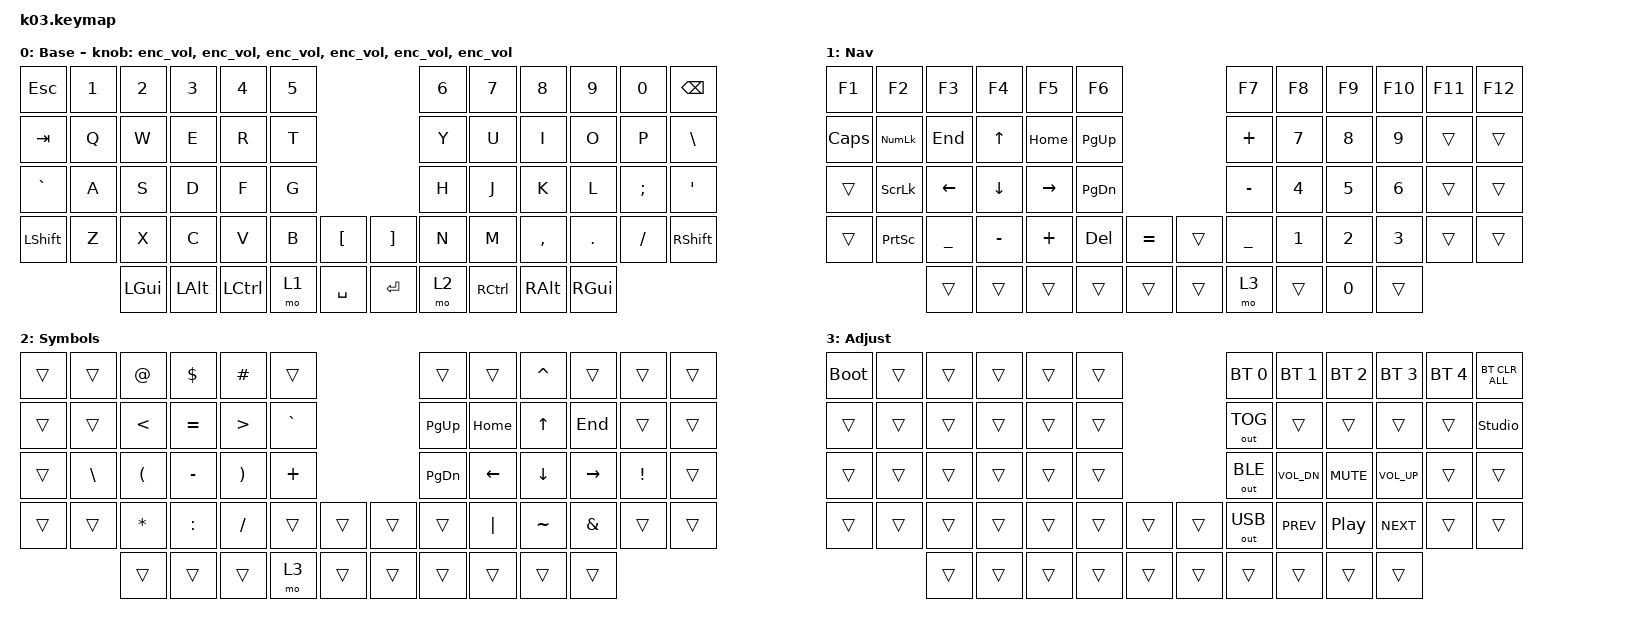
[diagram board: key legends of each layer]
#include "keys_ru.h"
#include <behaviors.dtsi>
#include <dt-bindings/zmk/bt.h>
#include <dt-bindings/zmk/keys.h>
#include <dt-bindings/zmk/outputs.h>

/ {
    behaviors {
        enc_vol: enc_vol {
            compatible = "zmk,behavior-sensor-rotate";
            label = "ENC_VOL";
            #sensor-binding-cells = <0>;
            bindings = <&kp C_VOL_UP>, <&kp C_VOL_DN>;
        };
    };

    keymap {
        compatible = "zmk,keymap";

        base {
            bindings = <
&kp ESC    &kp N1  &kp N2    &kp N3    &kp N4     &kp N5                          &kp N6  &kp N7     &kp N8     &kp N9    &kp N0    &kp BSPC
&kp TAB    &kp Q   &kp W     &kp E     &kp R      &kp T                           &kp Y   &kp U      &kp I      &kp O     &kp P     &kp BSLH
&kp GRAVE  &kp A   &kp S     &kp D     &kp F      &kp G                           &kp H   &kp J      &kp K      &kp L     &kp SEMI  &kp SQT
&kp LSHFT  &kp Z   &kp X     &kp C     &kp V      &kp B   &kp LBKT     &kp RBKT   &kp N   &kp M      &kp COMMA  &kp DOT   &kp FSLH  &kp RSHFT
                   &kp LGUI  &kp LALT  &kp LCTRL  &mo 1   &kp SPACE    &kp ENTER  &mo 2   &kp RCTRL  &kp RALT   &kp RGUI
            >;

            display-name = "Base";
            sensor-bindings =
                <&enc_vol>,
                <&enc_vol>,
                <&enc_vol>,
                <&enc_vol>,
                <&enc_vol>,
                <&enc_vol>;
        };

        nav {
            bindings = <
&kp F1    &kp F2           &kp F3          &kp F4     &kp F5     &kp F6                          &kp F7     &kp F8  &kp F9  &kp F10  &kp F11  &kp F12
&kp CAPS  &kp KP_NUMLOCK   &kp END         &kp UP     &kp HOME   &kp PG_UP                       &kp PLUS   &kp N7  &kp N8  &kp N9   &trans   &trans
&trans    &kp SCROLLLOCK   &kp LEFT        &kp DOWN   &kp RIGHT  &kp PG_DN                       &kp MINUS  &kp N4  &kp N5  &kp N6   &trans   &trans
&trans    &kp PRINTSCREEN  &kp UNDERSCORE  &kp MINUS  &kp PLUS   &kp DEL    &kp EQUAL    &trans  &kp UNDER  &kp N1  &kp N2  &kp N3   &trans   &trans
                           &trans          &trans     &trans     &trans     &trans       &trans  &mo 3      &trans  &kp N0  &trans
            >;

            display-name = "Nav";
        };

        sym {
            bindings = <
&trans  &trans    &kp AT    &kp DLLR   &kp HASH  &trans                       &trans     &trans          &kp CARET       &trans           &trans    &trans
&trans  &trans    &kp LT    &kp EQUAL  &kp GT    &kp GRAVE                    &kp PG_UP  &kp HOME        &kp UP          &kp END          &trans    &trans
&trans  &kp BSLH  &kp LPAR  &kp MINUS  &kp RPAR  &kp PLUS                     &kp PG_DN  &kp LEFT_ARROW  &kp DOWN_ARROW  &kp RIGHT_ARROW  &kp EXCL  &trans
&trans  &trans    &kp STAR  &kp COLON  &kp FSLH  &trans     &trans    &trans  &trans     &kp PIPE        &kp TILDE       &kp AMPS         &trans    &trans
                  &trans    &trans     &trans    &mo 3      &trans    &trans  &trans     &trans          &trans          &trans
            >;

            display-name = "Symbols";
        };

        adj {
            bindings = <
&bootloader  &trans  &trans  &trans  &trans  &trans                    &bt BT_SEL 0  &bt BT_SEL 1  &bt BT_SEL 2      &bt BT_SEL 3  &bt BT_SEL 4  &bt BT_CLR_ALL
&trans       &trans  &trans  &trans  &trans  &trans                    &out OUT_TOG  &trans        &trans            &trans        &trans        &studio_unlock
&trans       &trans  &trans  &trans  &trans  &trans                    &out OUT_BLE  &kp C_VOL_DN  &kp C_MUTE        &kp C_VOL_UP  &trans        &trans
&trans       &trans  &trans  &trans  &trans  &trans  &trans    &trans  &out OUT_USB  &kp C_PREV    &kp C_PLAY_PAUSE  &kp C_NEXT    &trans        &trans
                     &trans  &trans  &trans  &trans  &trans    &trans  &trans        &trans        &trans            &trans
            >;

            display-name = "Adjust";
        };
    };
};
